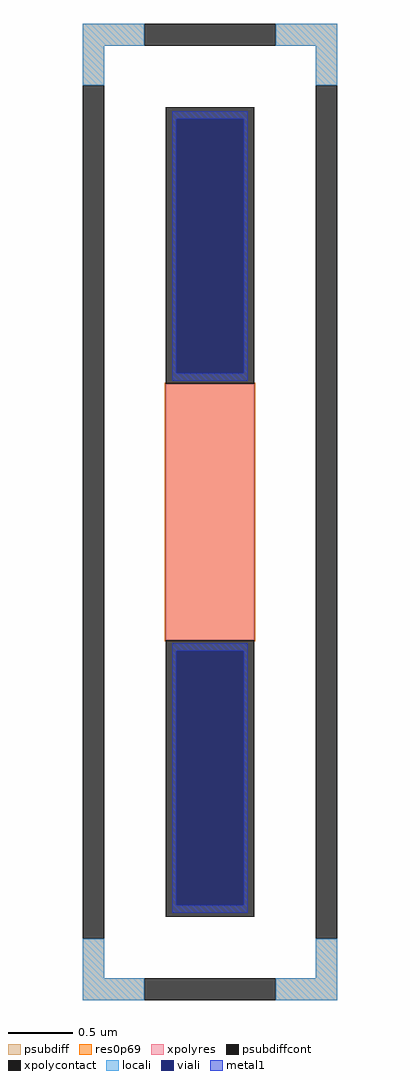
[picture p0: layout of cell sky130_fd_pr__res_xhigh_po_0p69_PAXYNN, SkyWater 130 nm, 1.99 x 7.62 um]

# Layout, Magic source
magic
tech sky130A
magscale 1 2
<< psubdiff >>
rect -199 728 -103 762
rect 103 728 199 762
rect -199 666 -165 728
rect 165 666 199 728
rect -199 -728 -165 -666
rect 165 -728 199 -666
rect -199 -762 -103 -728
rect 103 -762 199 -728
<< psubdiffcont >>
rect -103 728 103 762
rect -199 -666 -165 666
rect 165 -666 199 666
rect -103 -762 103 -728
<< xpolycontact >>
rect -69 200 69 632
rect -69 -632 69 -200
<< xpolyres >>
rect -69 -200 69 200
<< locali >>
rect -199 728 -103 762
rect 103 728 199 762
rect -199 666 -165 728
rect 165 666 199 728
rect -199 -728 -165 -666
rect 165 -728 199 -666
rect -199 -762 -103 -728
rect 103 -762 199 -728
<< viali >>
rect -53 217 53 614
rect -53 -614 53 -217
<< metal1 >>
rect -59 614 59 626
rect -59 217 -53 614
rect 53 217 59 614
rect -59 205 59 217
rect -59 -217 59 -205
rect -59 -614 -53 -217
rect 53 -614 59 -217
rect -59 -626 59 -614
<< res0p69 >>
rect -71 -202 71 202
<< properties >>
string FIXED_BBOX -182 -745 182 745
string gencell sky130_fd_pr__res_xhigh_po_0p69
string library sky130
string parameters w 0.690 l 2 m 1 nx 1 wmin 0.690 lmin 0.50 rho 2000 val 6.342k dummy 0 dw 0.0 term 188.2 sterm 0.0 caplen 0 wmax 0.690 guard 1 glc 1 grc 1 gtc 1 gbc 1 compatible {sky130_fd_pr__res_xhigh_po_0p35  sky130_fd_pr__res_xhigh_po_0p69 sky130_fd_pr__res_xhigh_po_1p41  sky130_fd_pr__res_xhigh_po_2p85 sky130_fd_pr__res_xhigh_po_5p73} full_metal 1 n_guard 0 hv_guard 0 vias 1 viagb 0 viagt 0 viagl 0 viagr 0
<< end >>
